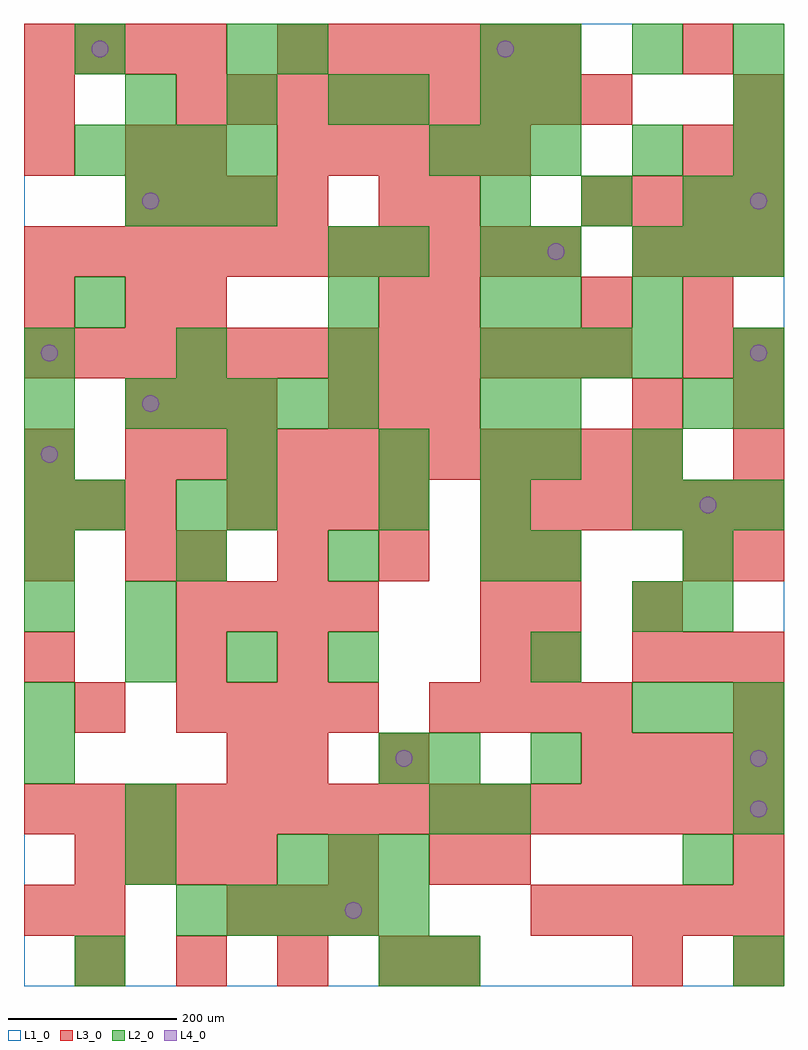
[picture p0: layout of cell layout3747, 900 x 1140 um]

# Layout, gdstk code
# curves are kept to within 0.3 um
import gdstk
lib = gdstk.Library(unit=1e-6, precision=1e-09)
def R(c, l, rs):  # rectangles x0, y0, x1, y1
    for r in rs: c.add(gdstk.rectangle(r[:2], r[2:], *l))
def A(c, l, x, y, w, h, nx, ny, dx, dy):  # array of equal rectangles
    R(c, l, [(x+i*dx, y+j*dy, x+i*dx+w, y+j*dy+h) for i in range(nx) for j in range(ny)])
def P(c, l, *ps):  # polygons
    for p in ps: c.add(gdstk.Polygon(p, *l))
L1_0 = (1, 0)
L2_0 = (2, 0)
L3_0 = (3, 0)
L4_0 = (4, 0)

layout3747 = lib.new_cell('layout3747')
R(layout3747, L1_0, [(0,0,900,1140)])
A(layout3747, L2_0, 180, 60, 60, 60, 5, 1, 60, 0)
A(layout3747, L2_0, 300, 120, 60, 60, 3, 1, 60, 0)
A(layout3747, L2_0, 600, 240, 60, 60, 1, 4, 0, 120)
A(layout3747, L2_0, 0, 300, 60, 60, 1, 3, 0, 120)
A(layout3747, L2_0, 720, 300, 60, 60, 3, 2, 60, 240)
A(layout3747, L2_0, 120, 360, 60, 60, 3, 2, 120, 660)
A(layout3747, L2_0, 720, 420, 60, 60, 1, 4, 0, 180)
A(layout3747, L2_0, 0, 480, 60, 60, 4, 2, 180, 240)
A(layout3747, L2_0, 540, 540, 60, 60, 1, 3, 0, 60)
A(layout3747, L2_0, 120, 660, 60, 60, 5, 1, 60, 0)
A(layout3747, L2_0, 600, 720, 60, 60, 3, 1, 60, 0)
A(layout3747, L2_0, 720, 840, 60, 60, 3, 1, 60, 0)
A(layout3747, L2_0, 120, 900, 60, 60, 3, 1, 60, 0)
A(layout3747, L2_0, 540, 900, 60, 60, 3, 1, 120, 0)
A(layout3747, L2_0, 840, 900, 60, 60, 1, 3, 0, 60)
A(layout3747, L2_0, 60, 960, 60, 60, 4, 1, 60, 0)
A(layout3747, L2_0, 480, 960, 60, 60, 3, 1, 60, 0)
A(layout3747, L2_0, 600, 1080, 60, 60, 3, 1, 120, 0)
R(layout3747, L2_0, [(60,0,120,60), (420,0,480,60), (480,0,540,60), (840,0,900,60), (120,120,180,180), (780,120,840,180), (120,180,180,240), (480,180,540,240), (540,180,600,240), (840,180,900,240), (0,240,60,300), (420,240,480,300), (480,240,540,300), (840,240,900,300), (120,420,180,480), (780,420,840,480), (780,480,840,540), (60,540,120,600), (180,540,240,600), (240,540,300,600), (420,540,480,600), (0,600,60,660), (240,600,300,660), (420,600,480,660), (0,660,60,720), (600,660,660,720), (780,660,840,720), (840,660,900,720), (840,720,900,780), (60,780,120,840), (360,780,420,840), (540,780,600,840), (600,780,660,840), (360,840,420,900), (420,840,480,900), (540,840,600,900), (600,840,660,900), (420,1020,480,1080), (540,1020,600,1080), (600,1020,660,1080), (60,1080,120,1140), (240,1080,300,1140), (300,1080,360,1140), (540,1080,600,1140)])
A(layout3747, L3_0, 60, 0, 60, 60, 4, 1, 120, 0)
A(layout3747, L3_0, 240, 60, 60, 60, 3, 1, 60, 0)
A(layout3747, L3_0, 600, 60, 60, 60, 5, 1, 60, 0)
A(layout3747, L3_0, 60, 120, 60, 60, 4, 1, 60, 0)
A(layout3747, L3_0, 840, 120, 60, 60, 1, 3, 0, 180)
A(layout3747, L3_0, 0, 180, 60, 60, 15, 1, 60, 0)
A(layout3747, L3_0, 660, 240, 60, 60, 4, 2, 60, 660)
A(layout3747, L3_0, 180, 300, 60, 60, 4, 2, 60, 120)
A(layout3747, L3_0, 480, 300, 60, 60, 4, 1, 60, 0)
A(layout3747, L3_0, 0, 360, 60, 60, 1, 3, 0, 120)
A(layout3747, L3_0, 600, 360, 60, 60, 1, 3, 0, 60)
A(layout3747, L3_0, 720, 360, 60, 60, 3, 2, 60, 480)
A(layout3747, L3_0, 180, 480, 60, 60, 4, 1, 120, 0)
A(layout3747, L3_0, 0, 540, 60, 60, 3, 1, 60, 0)
A(layout3747, L3_0, 240, 540, 60, 60, 4, 1, 60, 0)
A(layout3747, L3_0, 540, 540, 60, 60, 6, 1, 60, 0)
A(layout3747, L3_0, 120, 600, 60, 60, 11, 1, 60, 0)
A(layout3747, L3_0, 840, 600, 60, 60, 1, 3, 0, 60)
A(layout3747, L3_0, 120, 660, 60, 60, 3, 1, 60, 0)
A(layout3747, L3_0, 360, 660, 60, 60, 3, 1, 60, 0)
A(layout3747, L3_0, 0, 720, 60, 60, 12, 1, 60, 0)
A(layout3747, L3_0, 0, 840, 60, 60, 11, 1, 60, 0)
A(layout3747, L3_0, 120, 900, 60, 60, 4, 1, 60, 0)
A(layout3747, L3_0, 300, 960, 60, 60, 5, 1, 60, 0)
A(layout3747, L3_0, 180, 1020, 60, 60, 9, 1, 60, 0)
A(layout3747, L3_0, 0, 1080, 60, 60, 4, 1, 60, 0)
A(layout3747, L3_0, 300, 1080, 60, 60, 6, 1, 60, 0)
R(layout3747, L3_0, [(480,0,540,60), (720,0,780,60), (840,0,900,60), (0,60,60,120), (60,60,120,120), (360,120,420,180), (480,120,540,180), (540,120,600,180), (240,240,300,300), (300,240,360,300), (420,240,480,300), (60,300,120,360), (180,360,240,420), (300,360,360,420), (540,360,600,420), (540,420,600,480), (720,420,780,480), (120,480,180,540), (780,480,840,540), (720,660,780,720), (780,720,840,780), (0,780,60,840), (120,780,180,840), (180,780,240,840), (420,780,480,840), (480,780,540,840), (660,780,720,840), (780,780,840,840), (420,900,480,960), (480,900,540,960), (0,960,60,1020), (120,960,180,1020), (180,960,240,1020), (780,960,840,1020), (840,960,900,1020), (0,1020,60,1080), (840,1020,900,1080), (780,1080,840,1140)])
P(layout3747, L4_0, [(40,630),(39.239,633.827),(37.071,637.071),(33.827,639.239),(30,640),(26.173,639.239),(22.929,637.071),(20.761,633.827),(20,630),(20.761,626.173),(22.929,622.929),(26.173,620.761),(30,620),(33.827,620.761),(37.071,622.929),(39.239,626.173)],
  [(40,750),(39.239,753.827),(37.071,757.071),(33.827,759.239),(30,760),(26.173,759.239),(22.929,757.071),(20.761,753.827),(20,750),(20.761,746.173),(22.929,742.929),(26.173,740.761),(30,740),(33.827,740.761),(37.071,742.929),(39.239,746.173)],
  [(100,1110),(99.239,1113.827),(97.071,1117.071),(93.827,1119.239),(90,1120),(86.173,1119.239),(82.929,1117.071),(80.761,1113.827),(80,1110),(80.761,1106.173),(82.929,1102.929),(86.173,1100.761),(90,1100),(93.827,1100.761),(97.071,1102.929),(99.239,1106.173)],
  [(160,690),(159.239,693.827),(157.071,697.071),(153.827,699.239),(150,700),(146.173,699.239),(142.929,697.071),(140.761,693.827),(140,690),(140.761,686.173),(142.929,682.929),(146.173,680.761),(150,680),(153.827,680.761),(157.071,682.929),(159.239,686.173)],
  [(160,930),(159.239,933.827),(157.071,937.071),(153.827,939.239),(150,940),(146.173,939.239),(142.929,937.071),(140.761,933.827),(140,930),(140.761,926.173),(142.929,922.929),(146.173,920.761),(150,920),(153.827,920.761),(157.071,922.929),(159.239,926.173)],
  [(400,90),(399.239,93.827),(397.071,97.071),(393.827,99.239),(390,100),(386.173,99.239),(382.929,97.071),(380.761,93.827),(380,90),(380.761,86.173),(382.929,82.929),(386.173,80.761),(390,80),(393.827,80.761),(397.071,82.929),(399.239,86.173)],
  [(460,270),(459.239,273.827),(457.071,277.071),(453.827,279.239),(450,280),(446.173,279.239),(442.929,277.071),(440.761,273.827),(440,270),(440.761,266.173),(442.929,262.929),(446.173,260.761),(450,260),(453.827,260.761),(457.071,262.929),(459.239,266.173)],
  [(580,1110),(579.239,1113.827),(577.071,1117.071),(573.827,1119.239),(570,1120),(566.173,1119.239),(562.929,1117.071),(560.761,1113.827),(560,1110),(560.761,1106.173),(562.929,1102.929),(566.173,1100.761),(570,1100),(573.827,1100.761),(577.071,1102.929),(579.239,1106.173)],
  [(640,870),(639.239,873.827),(637.071,877.071),(633.827,879.239),(630,880),(626.173,879.239),(622.929,877.071),(620.761,873.827),(620,870),(620.761,866.173),(622.929,862.929),(626.173,860.761),(630,860),(633.827,860.761),(637.071,862.929),(639.239,866.173)],
  [(820,570),(819.239,573.827),(817.071,577.071),(813.827,579.239),(810,580),(806.173,579.239),(802.929,577.071),(800.761,573.827),(800,570),(800.761,566.173),(802.929,562.929),(806.173,560.761),(810,560),(813.827,560.761),(817.071,562.929),(819.239,566.173)],
  [(880,210),(879.239,213.827),(877.071,217.071),(873.827,219.239),(870,220),(866.173,219.239),(862.929,217.071),(860.761,213.827),(860,210),(860.761,206.173),(862.929,202.929),(866.173,200.761),(870,200),(873.827,200.761),(877.071,202.929),(879.239,206.173)],
  [(880,270),(879.239,273.827),(877.071,277.071),(873.827,279.239),(870,280),(866.173,279.239),(862.929,277.071),(860.761,273.827),(860,270),(860.761,266.173),(862.929,262.929),(866.173,260.761),(870,260),(873.827,260.761),(877.071,262.929),(879.239,266.173)],
  [(880,750),(879.239,753.827),(877.071,757.071),(873.827,759.239),(870,760),(866.173,759.239),(862.929,757.071),(860.761,753.827),(860,750),(860.761,746.173),(862.929,742.929),(866.173,740.761),(870,740),(873.827,740.761),(877.071,742.929),(879.239,746.173)],
  [(880,930),(879.239,933.827),(877.071,937.071),(873.827,939.239),(870,940),(866.173,939.239),(862.929,937.071),(860.761,933.827),(860,930),(860.761,926.173),(862.929,922.929),(866.173,920.761),(870,920),(873.827,920.761),(877.071,922.929),(879.239,926.173)])

lib.write_gds('layout3747.gds')
